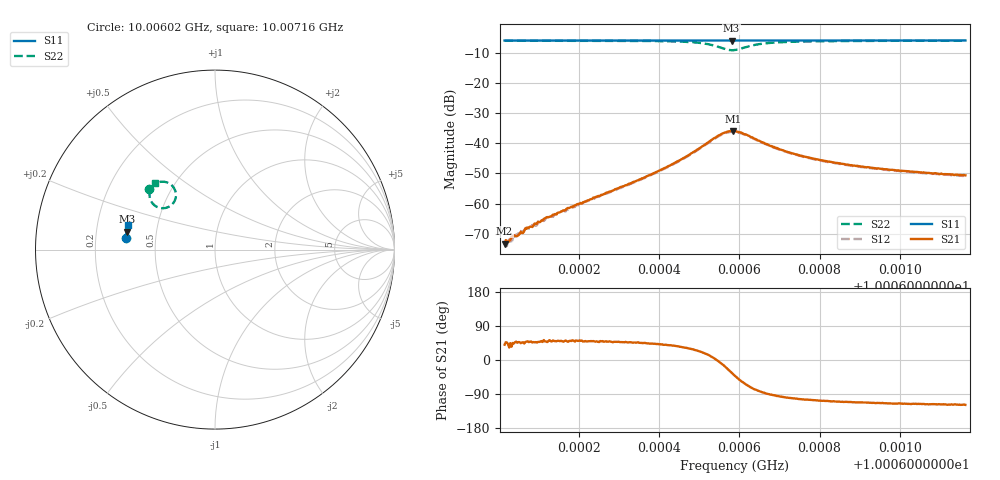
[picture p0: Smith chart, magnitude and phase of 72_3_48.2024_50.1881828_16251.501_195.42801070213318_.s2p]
#  HZ  S  RI  R  50.00
! Rohde & Schwarz Vector Network Analyzer
! Rohde-Schwarz,ZNB20-2Port,1311601062101988,3.16
! Created: UTC 3/20/2024, 11:39:14 AM
! freq[Hz]  re:S11  im:S11  re:S21  im:S21  re:S12  im:S12  re:S22  im:S22
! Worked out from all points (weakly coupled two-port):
!   401 points, 10.00602 GHz to 10.00716 GHz, reference 50 ohm
!   highest |S21| = -35.97 dB at 10.00658 GHz (marker M1); lowest = -73.2 dB at 10.00602 GHz (marker M2)
!   lowest |S11| = -6.0 dB at 10.00658 GHz (marker M3), VSWR 3.01, Z = 16.8 + j4.44 ohm
!   |S11| at or under -10 dB: nowhere
!   |S22| runs from -9.2 to -6.0 dB; largest |S21 - S12| = 0.001
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1.0006015e10  -0.4976 0.0633  0.000166 0.000142  0.000173 0.000149  -0.3657 0.339
1.0006027e10  -0.4976 0.0641  0.0002 0.000129  0.000166 0.000179  -0.365 0.3397
1.0006035e10  -0.4975 0.0646  0.0002 0.0002  0.000159 0.000212  -0.3645 0.3402
1.0006047e10  -0.4975 0.0654  0.000203 0.000207  0.000218 0.000218  -0.3638 0.3412
1.0006064e10  -0.4974 0.0664  0.000254 0.000242  0.000219 0.000293  -0.3627 0.3423
1.0006099e10  -0.497 0.0688  0.000338 0.000374  0.000329 0.000344  -0.3602 0.3449
1.0006119e10  -0.497 0.0701  0.000386 0.000438  0.000352 0.000461  -0.359 0.3463
1.0006208e10  -0.4962 0.0759  0.000624 0.000777  0.000618 0.000802  -0.3516 0.3533
1.00064e10  -0.4944 0.0885  0.00262 0.00233  0.00245 0.0024  -0.3211 0.3727
1.0006457e10  -0.4937 0.0922  0.00457 0.00308  0.00429 0.00321  -0.2986 0.378
1.0006515e10  -0.4926 0.0961  0.0091 0.00283  0.00873 0.00315  -0.2537 0.3678
1.0006555e10  -0.4915 0.0981  0.0139 -0.00216  0.0136 -0.00127  -0.218 0.3122
1.0006581e10  -0.4912 0.0991  0.0132 -0.00867  0.0133 -0.00773  -0.2381 0.2531
1.0006584e10  -0.4912 0.0993  0.0128 -0.00944  0.013 -0.00853  -0.2433 0.248
1.0006589e10  -0.4913 0.0996  0.0118 -0.0105  0.012 -0.0096  -0.2555 0.2397
1.0006618e10  -0.4915 0.1012  0.00575 -0.0126  0.0062 -0.0119  -0.3163 0.235
1.0006653e10  -0.4916 0.1032  0.00129 -0.0106  0.00182 -0.0104  -0.3528 0.2639
1.0006719e10  -0.4911 0.1077  -0.00116 -0.00716  -0.000789 -0.0071  -0.3648 0.3057
1.0006782e10  -0.4904 0.112  -0.00152 -0.00543  -0.00122 -0.00538  -0.3616 0.3262
1.0006871e10  -0.4894 0.1177  -0.00157 -0.00413  -0.00133 -0.00412  -0.355 0.3428
1.0006974e10  -0.4879 0.1243  -0.00152 -0.00332  -0.0013 -0.00331  -0.3478 0.3548
1.0007164e10  -0.4852 0.1361  -0.0014 -0.00259  -0.00124 -0.0026  -0.3361 0.3696
